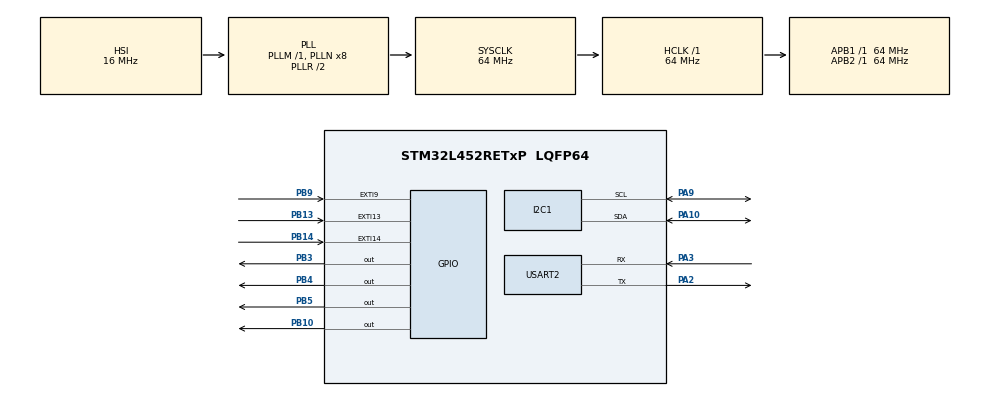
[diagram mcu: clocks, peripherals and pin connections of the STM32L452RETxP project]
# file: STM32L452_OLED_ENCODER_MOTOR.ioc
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I2C1.Timing=0x10707DBC
Mcu.Family=STM32L4
Mcu.Name=STM32L452RETxP
Mcu.Package=LQFP64
NVIC.EXTI15_10_IRQn=true\:0\:0\:false\:false\:true\:true\:true
NVIC.EXTI9_5_IRQn=true\:0\:0\:false\:false\:true\:true\:true
NVIC.PriorityGroup=NVIC_PRIORITYGROUP_4
NVIC.TIM6_DAC_IRQn=true\:0\:0\:false\:false\:true\:true\:true
PA10.Mode=I2C
PA10.Signal=I2C1_SDA
PA2.Mode=Asynchronous
PA2.Signal=USART2_TX
PA3.Mode=Asynchronous
PA3.Signal=USART2_RX
PA9.Mode=I2C
PA9.Signal=I2C1_SCL
PB10.Signal=GPIO_Output
PB13.GPIO_ModeDefaultEXTI=GPIO_MODE_IT_FALLING
PB13.Signal=GPXTI13
PB14.GPIO_ModeDefaultEXTI=GPIO_MODE_IT_FALLING
PB14.Signal=GPXTI14
PB3\ (JTDO/TRACESWO).Signal=GPIO_Output
PB4\ (NJTRST).Signal=GPIO_Output
PB5.Signal=GPIO_Output
PB9.GPIO_ModeDefaultEXTI=GPIO_MODE_IT_RISING
PB9.Signal=GPXTI9
ProjectManager.HeapSize=0x200
ProjectManager.StackSize=0x400
ProjectManager.TargetToolchain=STM32CubeIDE
RCC.ADCFreq_Value=64000000
RCC.AHBFreq_Value=64000000
RCC.APB1Freq_Value=64000000
RCC.APB1TimFreq_Value=64000000
RCC.APB2Freq_Value=64000000
RCC.APB2TimFreq_Value=64000000
RCC.CortexFreq_Value=64000000
RCC.HCLKFreq_Value=64000000
RCC.HSE_VALUE=8000000
RCC.HSI48_VALUE=48000000
RCC.HSI_VALUE=16000000
RCC.LSE_VALUE=32768
RCC.MSI_VALUE=4000000
RCC.PLLSourceVirtual=RCC_PLLSOURCE_HSI
RCC.SYSCLKFreq_VALUE=64000000
RCC.SYSCLKSource=RCC_SYSCLKSOURCE_PLLCLK
RCC.USBFreq_Value=64000000
RCC.VCOOutputFreq_Value=128000000
TIM6.AutoReloadPreload=TIM_AUTORELOAD_PRELOAD_ENABLE
TIM6.Period=1
TIM6.Prescaler=63999
TIM6.TIM_MasterOutputTrigger=TIM_TRGO_UPDATE
USART2.VirtualMode-Asynchronous=VM_ASYNC
VP_TIM6_VS_ClockSourceINT.Mode=Enable_Timer
board=custom

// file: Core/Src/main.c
/* USER CODE BEGIN Header */
/**
  ******************************************************************************
  * @file           : main.c
  * @brief          : Main program body
  ******************************************************************************
  * @attention
  *
  * <h2><center>&copy; Copyright (c) 2020 STMicroelectronics.
  * All rights reserved.</center></h2>
  *
  * This software component is licensed by ST under BSD 3-Clause license,
  * the "License"; You may not use this file except in compliance with the
  * License. You may obtain a copy of the License at:
  *                        opensource.org/licenses/BSD-3-Clause
  *
  ******************************************************************************
  */
/* USER CODE END Header */

#include "main.h"

/* USER CODE BEGIN Includes */
#include "../encoder/encoder.h"
#include "../step_motor/step_motor.h"
#include "../ssd1306/ssd1306.h"
#include <math.h>
/* USER CODE END Includes */

I2C_HandleTypeDef hi2c1;

TIM_HandleTypeDef htim6;

UART_HandleTypeDef huart2;

/* USER CODE BEGIN PV */
EncoderConfigs encoder;
StepMotorConfigs stepMotor;

/* USER CODE END PV */

void SystemClock_Config(void);
static void MX_GPIO_Init(void);
static void MX_I2C1_Init(void);
static void MX_TIM6_Init(void);
static void MX_USART2_UART_Init(void);
/* USER CODE BEGIN PFP */
void InitDevices(void);
/* USER CODE END PFP */

/* USER CODE BEGIN 0 */
void LCD_PrintEncoderState();
void I2C_Scan();

/* USER CODE END 0 */

int main(void)
{

  /* MCU Configuration--------------------------------------------------------*/

  /* Reset of all peripherals, Initializes the Flash interface and the Systick. */
  HAL_Init();

  /* Configure the system clock */
  SystemClock_Config();

  /* Initialize all configured peripherals */
  MX_GPIO_Init();
  MX_I2C1_Init();
  MX_TIM6_Init();
  MX_USART2_UART_Init();
  /* USER CODE BEGIN 2 */
  EncoderInit(&encoder);
  I2C_Scan();
  ssd1306_Init();
  InitDevices();
  /* USER CODE END 2 */

  /* Infinite loop */
  /* USER CODE BEGIN WHILE */
  HAL_TIM_Base_Start(&htim6);
  HAL_TIM_Base_Start_IT(&htim6);
  while (1)
  {

	  if(encoder.tumblerState == 0 || encoder.buttonState == 0) {
		  stepMotor.state = 0;
		  StepMotorWrite(&stepMotor, 0, 0, 0, 0);
	  } else {
		  stepMotor.state = 1;

		  // Casting tumbler state to step motor speed using function
		  // y = 166.55 - 16.55 * x
		  stepMotor.delay = (int)(166.55 - 16.55 * abs((int)encoder.tumblerState));
		  if(encoder.tumblerState > 0) {
			  stepMotor.direction = 1;
		  } else {
			  stepMotor.direction = 0;
		  }
	  }
	 LCD_PrintEncoderState();
    /* USER CODE END WHILE */

  }
}

void SystemClock_Config(void)
{
  RCC_OscInitTypeDef RCC_OscInitStruct = {0};
  RCC_ClkInitTypeDef RCC_ClkInitStruct = {0};
  RCC_PeriphCLKInitTypeDef PeriphClkInit = {0};

  /** Initializes the CPU, AHB and APB busses clocks
  */
  RCC_OscInitStruct.OscillatorType = RCC_OSCILLATORTYPE_HSI;
  RCC_OscInitStruct.HSIState = RCC_HSI_ON;
  RCC_OscInitStruct.HSICalibrationValue = RCC_HSICALIBRATION_DEFAULT;
  RCC_OscInitStruct.PLL.PLLState = RCC_PLL_ON;
  RCC_OscInitStruct.PLL.PLLSource = RCC_PLLSOURCE_HSI;
  RCC_OscInitStruct.PLL.PLLM = 1;
  RCC_OscInitStruct.PLL.PLLN = 8;
  RCC_OscInitStruct.PLL.PLLP = RCC_PLLP_DIV7;
  RCC_OscInitStruct.PLL.PLLQ = RCC_PLLQ_DIV2;
  RCC_OscInitStruct.PLL.PLLR = RCC_PLLR_DIV2;
  if (HAL_RCC_OscConfig(&RCC_OscInitStruct) != HAL_OK)
  {
    Error_Handler();
  }
  /** Initializes the CPU, AHB and APB busses clocks
  */
  RCC_ClkInitStruct.ClockType = RCC_CLOCKTYPE_HCLK|RCC_CLOCKTYPE_SYSCLK
                              |RCC_CLOCKTYPE_PCLK1|RCC_CLOCKTYPE_PCLK2;
  RCC_ClkInitStruct.SYSCLKSource = RCC_SYSCLKSOURCE_PLLCLK;
  RCC_ClkInitStruct.AHBCLKDivider = RCC_SYSCLK_DIV1;
  RCC_ClkInitStruct.APB1CLKDivider = RCC_HCLK_DIV1;
  RCC_ClkInitStruct.APB2CLKDivider = RCC_HCLK_DIV1;

  if (HAL_RCC_ClockConfig(&RCC_ClkInitStruct, FLASH_LATENCY_3) != HAL_OK)
  {
    Error_Handler();
  }
  PeriphClkInit.PeriphClockSelection = RCC_PERIPHCLK_USART2|RCC_PERIPHCLK_I2C1;
  PeriphClkInit.Usart2ClockSelection = RCC_USART2CLKSOURCE_PCLK1;
  PeriphClkInit.I2c1ClockSelection = RCC_I2C1CLKSOURCE_PCLK1;
  if (HAL_RCCEx_PeriphCLKConfig(&PeriphClkInit) != HAL_OK)
  {
    Error_Handler();
  }
  /** Configure the main internal regulator output voltage
  */
  if (HAL_PWREx_ControlVoltageScaling(PWR_REGULATOR_VOLTAGE_SCALE1) != HAL_OK)
  {
    Error_Handler();
  }
}

static void MX_I2C1_Init(void)
{

  hi2c1.Instance = I2C1;
  hi2c1.Init.Timing = 0x10707DBC;
  hi2c1.Init.OwnAddress1 = 0;
  hi2c1.Init.AddressingMode = I2C_ADDRESSINGMODE_7BIT;
  hi2c1.Init.DualAddressMode = I2C_DUALADDRESS_DISABLE;
  hi2c1.Init.OwnAddress2 = 0;
  hi2c1.Init.OwnAddress2Masks = I2C_OA2_NOMASK;
  hi2c1.Init.GeneralCallMode = I2C_GENERALCALL_DISABLE;
  hi2c1.Init.NoStretchMode = I2C_NOSTRETCH_DISABLE;
  if (HAL_I2C_Init(&hi2c1) != HAL_OK)
  {
    Error_Handler();
  }
  /** Configure Analogue filter
  */
  if (HAL_I2CEx_ConfigAnalogFilter(&hi2c1, I2C_ANALOGFILTER_ENABLE) != HAL_OK)
  {
    Error_Handler();
  }
  /** Configure Digital filter
  */
  if (HAL_I2CEx_ConfigDigitalFilter(&hi2c1, 0) != HAL_OK)
  {
    Error_Handler();
  }

}

static void MX_TIM6_Init(void)
{

  TIM_MasterConfigTypeDef sMasterConfig = {0};

  htim6.Instance = TIM6;
  htim6.Init.Prescaler = 63999;
  htim6.Init.CounterMode = TIM_COUNTERMODE_UP;
  htim6.Init.Period = 1;
  htim6.Init.AutoReloadPreload = TIM_AUTORELOAD_PRELOAD_ENABLE;
  if (HAL_TIM_Base_Init(&htim6) != HAL_OK)
  {
    Error_Handler();
  }
  sMasterConfig.MasterOutputTrigger = TIM_TRGO_UPDATE;
  sMasterConfig.MasterSlaveMode = TIM_MASTERSLAVEMODE_DISABLE;
  if (HAL_TIMEx_MasterConfigSynchronization(&htim6, &sMasterConfig) != HAL_OK)
  {
    Error_Handler();
  }

}

static void MX_USART2_UART_Init(void)
{

  huart2.Instance = USART2;
  huart2.Init.BaudRate = 115200;
  huart2.Init.WordLength = UART_WORDLENGTH_8B;
  huart2.Init.StopBits = UART_STOPBITS_1;
  huart2.Init.Parity = UART_PARITY_NONE;
  huart2.Init.Mode = UART_MODE_TX_RX;
  huart2.Init.HwFlowCtl = UART_HWCONTROL_NONE;
  huart2.Init.OverSampling = UART_OVERSAMPLING_16;
  huart2.Init.OneBitSampling = UART_ONE_BIT_SAMPLE_DISABLE;
  huart2.AdvancedInit.AdvFeatureInit = UART_ADVFEATURE_NO_INIT;
  if (HAL_UART_Init(&huart2) != HAL_OK)
  {
    Error_Handler();
  }

}

static void MX_GPIO_Init(void)
{
  GPIO_InitTypeDef GPIO_InitStruct = {0};

  /* GPIO Ports Clock Enable */
  __HAL_RCC_GPIOA_CLK_ENABLE();
  __HAL_RCC_GPIOB_CLK_ENABLE();

  /*Configure GPIO pin Output Level */
  HAL_GPIO_WritePin(GPIOB, GPIO_PIN_10|GPIO_PIN_3|GPIO_PIN_4|GPIO_PIN_5, GPIO_PIN_RESET);

  /*Configure GPIO pins : PB10 PB3 PB4 PB5 */
  GPIO_InitStruct.Pin = GPIO_PIN_10|GPIO_PIN_3|GPIO_PIN_4|GPIO_PIN_5;
  GPIO_InitStruct.Mode = GPIO_MODE_OUTPUT_PP;
  GPIO_InitStruct.Pull = GPIO_NOPULL;
  GPIO_InitStruct.Speed = GPIO_SPEED_FREQ_LOW;
  HAL_GPIO_Init(GPIOB, &GPIO_InitStruct);

  /*Configure GPIO pins : PB13 PB14 */
  GPIO_InitStruct.Pin = GPIO_PIN_13|GPIO_PIN_14;
  GPIO_InitStruct.Mode = GPIO_MODE_IT_FALLING;
  GPIO_InitStruct.Pull = GPIO_NOPULL;
  HAL_GPIO_Init(GPIOB, &GPIO_InitStruct);

  /*Configure GPIO pin : PB9 */
  GPIO_InitStruct.Pin = GPIO_PIN_9;
  GPIO_InitStruct.Mode = GPIO_MODE_IT_RISING;
  GPIO_InitStruct.Pull = GPIO_NOPULL;
  HAL_GPIO_Init(GPIOB, &GPIO_InitStruct);

  /* EXTI interrupt init*/
  HAL_NVIC_SetPriority(EXTI9_5_IRQn, 0, 0);
  HAL_NVIC_EnableIRQ(EXTI9_5_IRQn);

  HAL_NVIC_SetPriority(EXTI15_10_IRQn, 0, 0);
  HAL_NVIC_EnableIRQ(EXTI15_10_IRQn);

}

/* USER CODE BEGIN 4 */
void InitDevices(void) {
	encoder.CLK.GPIO = GPIOB;
	encoder.CLK.PIN = GPIO_PIN_13;
	encoder.DT.GPIO = GPIOB;
	encoder.DT.PIN = GPIO_PIN_14;
	encoder.SW.GPIO = GPIOB;
	encoder.SW.PIN = GPIO_PIN_9;

	stepMotor.p1.GPIO = GPIOB;
	stepMotor.p1.PIN = GPIO_PIN_3;
	stepMotor.p2.GPIO = GPIOB;
	stepMotor.p2.PIN = GPIO_PIN_5;
	stepMotor.p3.GPIO = GPIOB;
	stepMotor.p3.PIN = GPIO_PIN_4;
	stepMotor.p4.GPIO = GPIOB;
	stepMotor.p4.PIN = GPIO_PIN_10;
	stepMotor.delay = 100;
	stepMotor.progTime = 0;
	stepMotor.state = 0;
}

void I2C_Scan() {
    char LCD_Buffer[] = "Scanning I2C bus...\r\n";
    HAL_UART_Transmit(&huart2, (uint8_t*)LCD_Buffer, strlen(LCD_Buffer), HAL_MAX_DELAY);

    HAL_StatusTypeDef res;
    for(uint16_t i = 0; i < 128; i++) {
        res = HAL_I2C_IsDeviceReady(&hi2c1, i << 1, 1, 10);
        if(res == HAL_OK) {
            char msg[64];
            snprintf(msg, sizeof(msg), "0x%02X", i);
            HAL_UART_Transmit(&huart2, (uint8_t*)msg, strlen(msg), HAL_MAX_DELAY);
        } else {
            HAL_UART_Transmit(&huart2, (uint8_t*)".", 1, HAL_MAX_DELAY);
        }
    }
    HAL_UART_Transmit(&huart2, (uint8_t*)"\r\n", 2, HAL_MAX_DELAY);
}

void LCD_PrintEncoderState() {
	if(HAL_GetTick() - LCD_progTime > LCD_PROGTIME_DELAY) {
		ssd1306_Fill(Black);

		ssd1306_SetCursor(10, 5);
		ssd1306_WriteString("MOTOR", Font_11x18, White);

		ssd1306_SetCursor(10, 23);
		sprintf(LCD_Buffer, "Speed: %d", encoder.tumblerState);
		ssd1306_WriteString(LCD_Buffer, Font_11x18, White);

		ssd1306_SetCursor(10, 40);
		sprintf(LCD_Buffer, "State: ");
		strcat(LCD_Buffer, encoder.buttonState ? "ON" : "OFF");
		ssd1306_WriteString(LCD_Buffer, Font_11x18, White);

		ssd1306_UpdateScreen();

		LCD_progTime = HAL_GetTick();
	}
}

/* USER CODE END 4 */

void Error_Handler(void)
{
}

/************************ (C) COPYRIGHT STMicroelectronics *****END OF FILE****/
